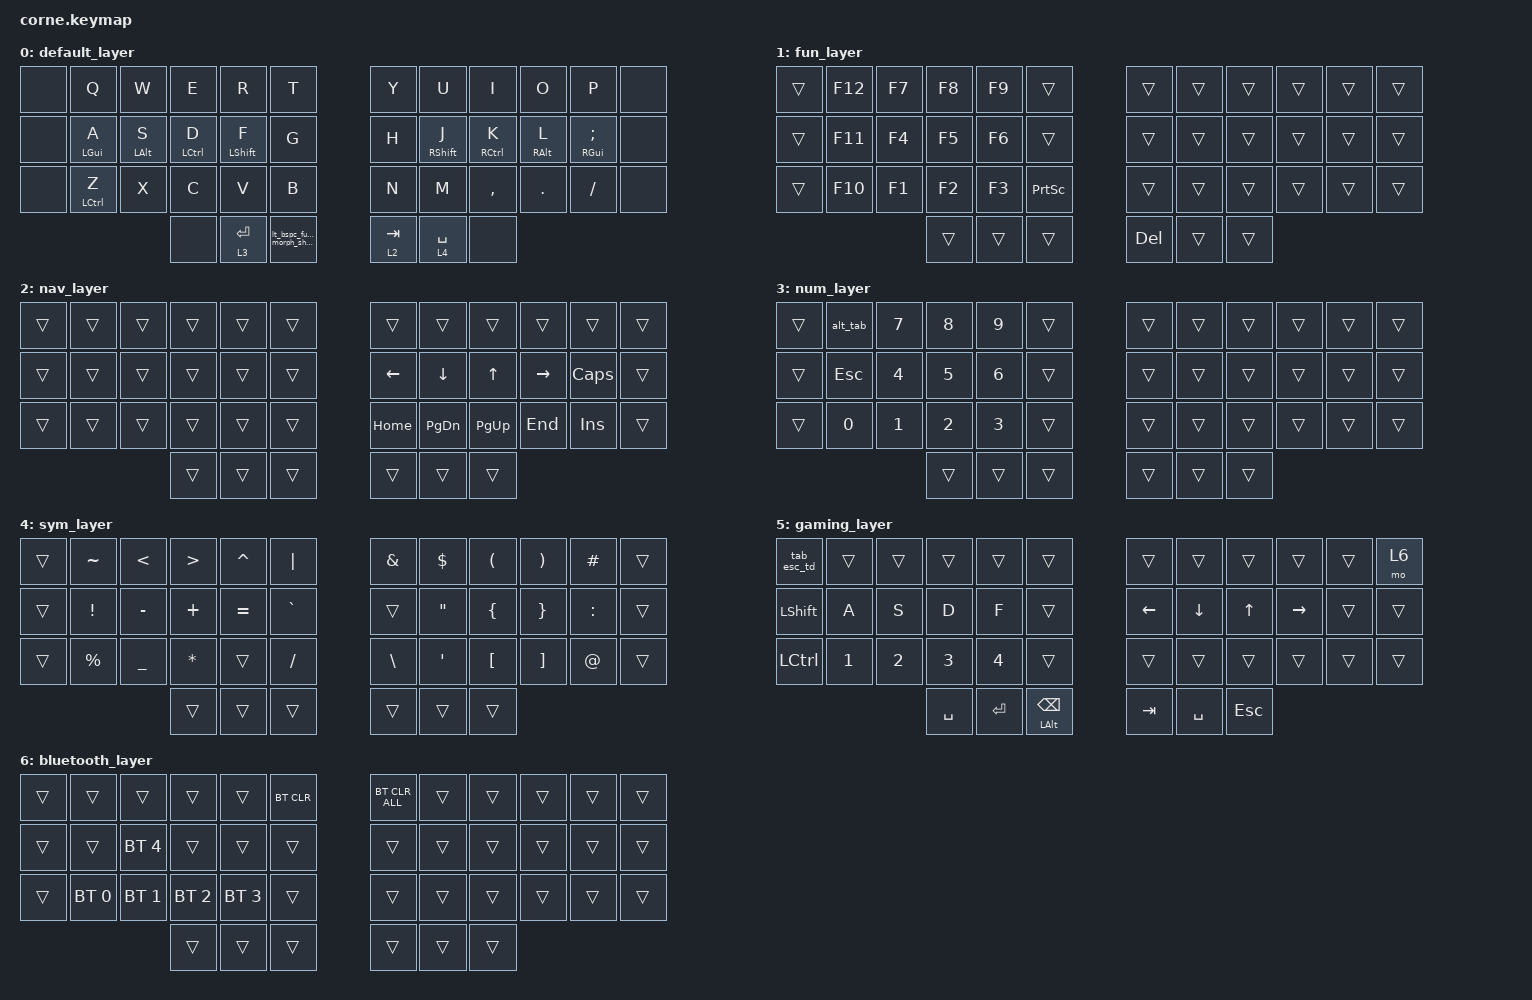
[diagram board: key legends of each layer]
/*
 * Copyright (c) 2020 The ZMK Contributors
 *
 * SPDX-License-Identifier: MIT
 */

#include <behaviors.dtsi>
#include <dt-bindings/zmk/bt.h>
#include <dt-bindings/zmk/keys.h>

&lt {
};

&mt { flavor = "tap-preferred"; };

/ {
    behaviors {
        mt_slower: mt_slower {
            compatible = "zmk,behavior-hold-tap";
            label = "MT_SLOWER";
            bindings = <&kp>, <&kp>;

            #binding-cells = <2>;
            flavor = "tap-preferred";
            tapping-term-ms = <280>;
        };

        tab_esc_td: tab_esc_td {
            compatible = "zmk,behavior-tap-dance";
            label = "TAB_ESC_TD";
            #binding-cells = <0>;
            bindings = <&kp TAB>, <&kp ESC>;
        };

        lt_bspc_fun___morph_shift_tab: lt_bspc_fun___morph_shift_tab {
            compatible = "zmk,behavior-mod-morph";
            label = "LT_BSPC_FUN___MORPH_SHIFT_TAB";
            bindings = <&lt 1 BSPC>, <&kp LS(TAB)>;

            #binding-cells = <0>;
            mods = <(MOD_LSFT)>;
        };
    };

    combos {
        compatible = "zmk,combos";

        toggle_gaming {
            bindings = <&tog 5>;
            key-positions = <37 38 39 40>;
        };
    };

    macros {
        alt_tab: alt_tab {
            compatible = "zmk,behavior-macro";
            #binding-cells = <0>;
            bindings =
                <&macro_press>,
                <&kp LALT>,
                <&macro_tap>,
                <&kp TAB>,
                <&macro_pause_for_release>,
                <&macro_release>,
                <&kp LALT>;

            label = "ALT_TAB";
        };
    };

    keymap {
        compatible = "zmk,keymap";

        default_layer {
            // -----------------------------------------------------------------------------------------
            // |  TAB |  Q  |  W  |  E  |  R  |  T  |   |  Y  |  U   |  I  |  O  |  P  | BKSP |
            // | CTRL |  A  |  S  |  D  |  F  |  G  |   |  H  |  J   |  K  |  L  |  ;  |  '   |
            // | SHFT |  Z  |  X  |  C  |  V  |  B  |   |  N  |  M   |  ,  |  .  |  /  | ESC  |
            //                    | GUI | LWR | SPC |   | ENT | RSE  | ALT |

            bindings = <
&none  &kp Q                  &kp W           &kp E        &kp R             &kp T                             &kp Y      &kp U              &kp I        &kp O       &kp P               &none
&none  &mt_slower LEFT_GUI A  &mt LEFT_ALT S  &mt LCTRL D  &mt LEFT_SHIFT F  &kp G                             &kp H      &mt RIGHT_SHIFT J  &mt RCTRL K  &mt RALT L  &mt RGUI SEMICOLON  &none
&none  &mt LCTRL Z            &kp X           &kp C        &kp V             &kp B                             &kp N      &kp M              &kp COMMA    &kp DOT     &kp FSLH            &none
                                              &none        &lt 3 ENTER       &lt_bspc_fun___morph_shift_tab    &lt 2 TAB  &lt 4 SPACE        &none
            >;
        };

        fun_layer {
            bindings = <
&trans  &kp F12  &kp F7  &kp F8  &kp F9  &trans             &trans   &trans  &trans  &trans  &trans  &trans
&trans  &kp F11  &kp F4  &kp F5  &kp F6  &trans             &trans   &trans  &trans  &trans  &trans  &trans
&trans  &kp F10  &kp F1  &kp F2  &kp F3  &kp PRINTSCREEN    &trans   &trans  &trans  &trans  &trans  &trans
                         &trans  &trans  &trans             &kp DEL  &trans  &trans
            >;
        };

        nav_layer {
            bindings = <
&trans  &trans  &trans  &trans  &trans  &trans    &trans    &trans     &trans     &trans     &trans      &trans
&trans  &trans  &trans  &trans  &trans  &trans    &kp LEFT  &kp DOWN   &kp UP     &kp RIGHT  &kp CAPS    &trans
&trans  &trans  &trans  &trans  &trans  &trans    &kp HOME  &kp PG_DN  &kp PG_UP  &kp END    &kp INSERT  &trans
                        &trans  &trans  &trans    &trans    &trans     &trans
            >;
        };

        num_layer {
            bindings = <
&trans  &alt_tab      &kp N7        &kp N8        &kp N9  &trans    &trans  &trans  &trans  &trans  &trans  &trans
&trans  &kp ESC       &kp N4        &kp N5        &kp N6  &trans    &trans  &trans  &trans  &trans  &trans  &trans
&trans  &kp NUMBER_0  &kp NUMBER_1  &kp NUMBER_2  &kp N3  &trans    &trans  &trans  &trans  &trans  &trans  &trans
                                    &trans        &trans  &trans    &trans  &trans  &trans
            >;
        };

        sym_layer {
            bindings = <
&trans  &kp TILDE        &kp LESS_THAN   &kp GREATER_THAN  &kp CARET  &kp PIPE     &kp AMPERSAND  &kp DOLLAR         &kp LEFT_PARENTHESIS  &kp RIGHT_PARENTHESIS  &kp HASH   &trans
&trans  &kp EXCLAMATION  &kp MINUS       &kp PLUS          &kp EQUAL  &kp GRAVE    &trans         &kp DOUBLE_QUOTES  &kp LEFT_BRACE        &kp RIGHT_BRACE        &kp COLON  &trans
&trans  &kp PERCENT      &kp UNDERSCORE  &kp ASTERISK      &trans     &kp SLASH    &kp BACKSLASH  &kp SINGLE_QUOTE   &kp LEFT_BRACKET      &kp RIGHT_BRACKET      &kp AT     &trans
                                         &trans            &trans     &trans       &trans         &trans             &trans
            >;
        };

        gaming_layer {
            bindings = <
&tab_esc_td  &trans  &trans  &trans     &trans     &trans                    &trans    &trans     &trans   &trans     &trans  &mo 6
&kp LSHFT    &kp A   &kp S   &kp D      &kp F      &trans                    &kp LEFT  &kp DOWN   &kp UP   &kp RIGHT  &trans  &trans
&kp LCTRL    &kp N1  &kp N2  &kp N3     &kp N4     &trans                    &trans    &trans     &trans   &trans     &trans  &trans
                             &kp SPACE  &kp ENTER  &mt LEFT_ALT BACKSPACE    &kp TAB   &kp SPACE  &kp ESC
            >;
        };

        bluetooth_layer {
            bindings = <
&trans  &trans        &trans        &trans        &trans        &bt BT_CLR    &bt BT_CLR_ALL  &trans  &trans  &trans  &trans  &trans
&trans  &trans        &bt BT_SEL 4  &trans        &trans        &trans        &trans          &trans  &trans  &trans  &trans  &trans
&trans  &bt BT_SEL 0  &bt BT_SEL 1  &bt BT_SEL 2  &bt BT_SEL 3  &trans        &trans          &trans  &trans  &trans  &trans  &trans
                                    &trans        &trans        &trans        &trans          &trans  &trans
            >;
        };
    };

    conditional_layers { compatible = "zmk,conditional-layers"; };
};
